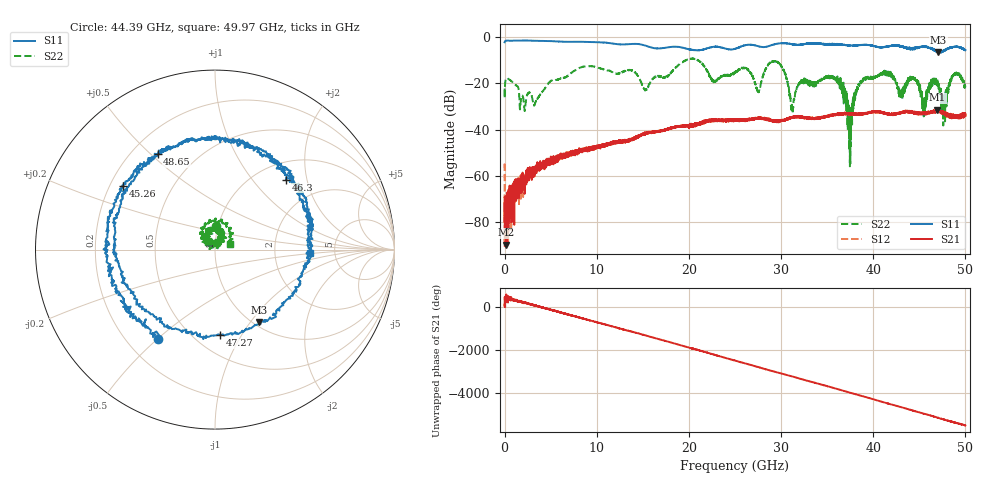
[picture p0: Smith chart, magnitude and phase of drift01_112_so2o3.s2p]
!Created with skrf (http://scikit-rf.org).
# Hz S RI R 50.0
!freq ReS11 ImS11 ReS21 ImS21 ReS12 ImS12 ReS22 ImS22
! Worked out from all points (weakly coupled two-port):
!   10001 points, 300 kHz to 50 GHz, reference 50 ohm
!   highest |S21| = -31.40 dB at 46.94 GHz (marker M1); lowest = -89.8 dB at 205.3 MHz (marker M2)
!   lowest |S11| = -6.5 dB at 47.08 GHz (marker M3), VSWR 2.79, Z = 52.9 - j55 ohm
!   |S11| at or under -10 dB: nowhere
!   |S22| runs from -55.9 to -9.2 dB; largest |S21 - S12| = 0.0041
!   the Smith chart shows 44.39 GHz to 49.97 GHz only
!   S11 on the Smith chart (normalised r, x): 44.39 GHz: 0.33, -0.50; 45.26 GHz: 0.25, +0.29; 46.3 GHz: 1.34, +1.50; 47.27 GHz: 0.66, -0.81; 48.65 GHz: 0.30, +0.53; 49.97 GHz: 3.22, -0.17
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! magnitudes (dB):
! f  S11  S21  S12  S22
! 300 kHz  -2.1  -69.5  -54.7  -22.2
! 205.3 MHz  -1.4  -89.8  -90.3  -17.7
! 3.29 GHz  -1.5  -57.6  -56.9  -28.8
! 8.335 GHz  -1.9  -49.5  -49.3  -12.9
! 16.67 GHz  -4.8  -40.4  -40.8  -16.6
! 25 GHz  -5.0  -35.8  -36.0  -15.4
! 29.58 GHz  -2.8  -36.5  -36.2  -10.6
! 31.24 GHz  -2.9  -34.7  -34.7  -31.8
! 33.34 GHz  -2.6  -35.3  -35.1  -19.9
! 36.08 GHz  -3.0  -33.1  -33.6  -18.3
! 37.47 GHz  -3.6  -33.2  -33.1  -39.5
! 38.65 GHz  -3.3  -33.3  -33.3  -19.8
! 41.67 GHz  -3.9  -33.6  -33.3  -15.9
! 44.39 GHz  -4.6  -32.3  -32.8  -17.6
! 45.26 GHz  -4.1  -32.8  -33.1  -26.1
! 46.3 GHz  -5.1  -32.4  -32.3  -18.4
! 46.94 GHz  -6.3  -31.4  -32.1  -19.3
! 47.08 GHz  -6.5  -32.5  -32.1  -22.2
! 47.27 GHz  -6.4  -32.1  -32.3  -23.2
! 48.65 GHz  -4.1  -34.3  -34.5  -17.0
! 49.97 GHz  -5.6  -33.3  -33.3  -21.0
! 50 GHz  -5.6  -34.0  -33.7  -21.6
